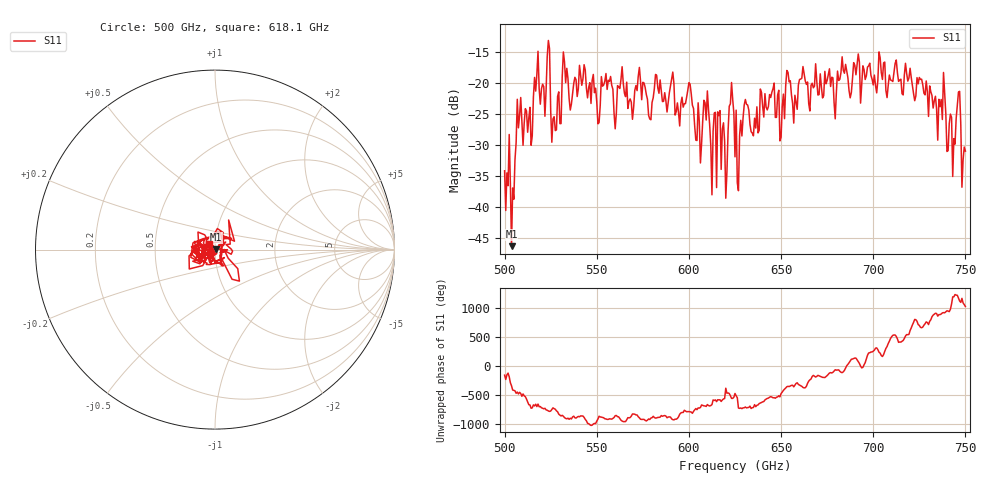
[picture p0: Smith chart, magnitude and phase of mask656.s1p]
!Created with skrf (http://scikit-rf.org).
# GHz S MA R 50.0
!freq magS11 angS11
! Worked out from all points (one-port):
!   401 points, 500 GHz to 750 GHz, reference 50 ohm
!   lowest |S11| = -46.3 dB at 503.8 GHz (marker M1), VSWR 1.01, Z = 50.5 + j0.166 ohm
!   |S11| at or under -10 dB: start of sweep to end of sweep
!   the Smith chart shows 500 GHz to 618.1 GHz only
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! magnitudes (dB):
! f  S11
! 500 GHz  -34.1
! 503.8 GHz  -46.3
! 507.5 GHz  -27.2
! 513.8 GHz  -23.9
! 516.9 GHz  -21.3
! 523.8 GHz  -13.1
! 526.9 GHz  -25.4
! 531.2 GHz  -19.0
! 541.9 GHz  -20.3
! 550.6 GHz  -26.6
! 562.5 GHz  -20.8
! 578.8 GHz  -25.8
! 590.6 GHz  -19.3
! 593.8 GHz  -23.2
! 600 GHz  -19.9
! 605 GHz  -23.2
! 609.4 GHz  -25.9
! 611.9 GHz  -30.1
! 620 GHz  -38.6
! 623.1 GHz  -19.9
! 625 GHz  -31.9
! 656.2 GHz  -23.2
! 687.5 GHz  -22.3
! 718.8 GHz  -19.6
! 738.1 GHz  -18.3
! 743.8 GHz  -28.9
! 746.2 GHz  -21.4
! 750 GHz  -31.0
